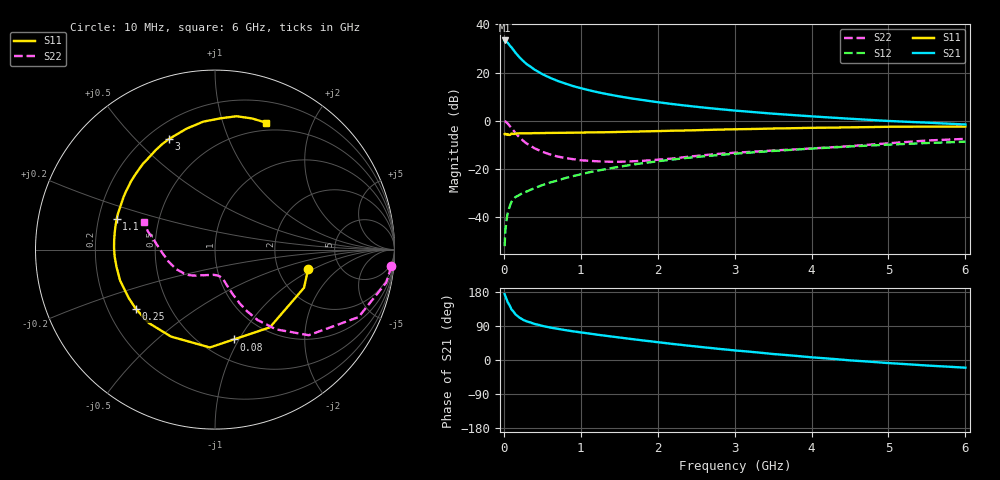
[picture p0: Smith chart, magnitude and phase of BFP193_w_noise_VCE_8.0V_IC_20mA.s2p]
! Infineon Technologies  Discrete & RF Semiconductors
! BFP193
! VCE =  8.0 V,  IC =  20 mA
! Common Emitter S-Parameters:  Jan 2017
# GHz  S  MA  R  50
!  f  S11  S21  S12  S22
! GHz  MAG  ANG  MAG  ANG  MAG  ANG  MAG  ANG
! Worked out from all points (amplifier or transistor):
!   77 points, 10 MHz to 6 GHz, reference 50 ohm
!   highest |S21| = 33.4 dB at 10 MHz (marker M1)
!   |S21| within 3 dB of that: start of sweep to 102.3 MHz
!   unconditionally stable (mu >= 1): 881.6 MHz to 2.512 GHz
!   at 130 MHz: K = 0.36, MSG = 30.8 dB, |S12| = -32.4 dB
!   at 2.2 GHz: K = 1.01, MAG = 10.7 dB, |S12| = -16.0 dB
!   at 6 GHz: K = 0.89, MSG = 3.6 dB, |S12| = -8.7 dB
!   lowest NFmin = 1.05 dB at 450 MHz
!   S11 on the Smith chart (normalised r, x): 10 MHz: 2.96, -0.88; 80 MHz: 0.70, -0.95; 250 MHz: 0.32, -0.30; 1.1 GHz: 0.28, +0.14; 3 GHz: 0.28, +0.63; 6 GHz: 0.41, +1.40
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0.01  0.53 -11.7  46.57 173.7  0.0025 88.1  0.9875 -5.3
0.02  0.5397 -23.2  46.44 168.2  0.0053 84.4  0.9713 -10.9
0.05  0.5303 -54.8  41.86 152.5  0.0121 70.8  0.8838 -25.2
0.08  0.5114 -78.1  36.22 142.0  0.0173 63.0  0.7692 -34.6
0.1  0.546 -93.0  33.33 133.2  0.0209 60.0  0.7073 -42.4
0.15  0.5431 -116.8  26.08 120.7  0.0261 53.3  0.559 -52.6
0.2  0.5509 -132.1  21.09 112.4  0.0288 51.5  0.4589 -58.8
0.25  0.5508 -143.2  17.53 106.1  0.0321 50.6  0.3872 -62.5
0.3  0.5512 -150.8  14.91 101.7  0.0343 51.6  0.3345 -65.1
0.4  0.5562 -162.0  11.51 95.0  0.04 53.4  0.2681 -68.3
0.5  0.5572 -170.2  9.303 90.0  0.0462 55.4  0.2276 -70.4
0.6  0.5606 -176.2  7.829 85.8  0.0524 57.5  0.2003 -72.2
0.7  0.5626 178.9  6.732 82.3  0.0578 58.7  0.1811 -73.6
0.9  0.5669 170.2  5.262 75.7  0.0711 59.8  0.1599 -77.5
1.1  0.5737 162.9  4.344 70.1  0.0848 60.2  0.1482 -82.1
1.5  0.5878 150.0  3.213 59.4  0.1115 58.4  0.1413 -95.0
2.1  0.6172 132.9  2.326 44.7  0.151 53.5  0.1603 -116.9
3  0.6674 112.6  1.633 25.3  0.2074 44.1  0.2176 -142.2
3.1  0.6709 110.7  1.585 23.6  0.2131 43.0  0.2218 -144.6
4.1  0.7181 93.7  1.21 5.6  0.2704 32.4  0.2726 -168.2
5.1  0.7531 79.6  0.977 -9.3  0.325 21.3  0.3508 170.0
6  0.7621 68.1  0.839 -20.3  0.3689 11.3  0.4223 159.0
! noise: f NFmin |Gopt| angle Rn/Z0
0.45  1.05  0.27  180  0.07
0.9  1.13  0.36  -178  0.07
1.9  1.76  0.56  -140  0.15
2.4  2.1  0.62  -124  0.34
